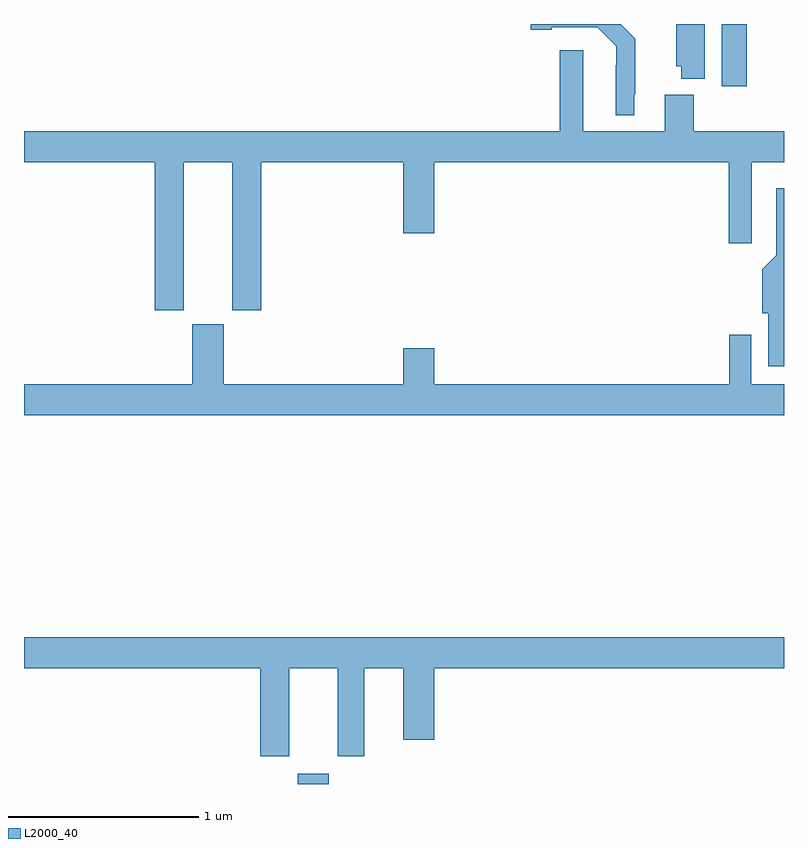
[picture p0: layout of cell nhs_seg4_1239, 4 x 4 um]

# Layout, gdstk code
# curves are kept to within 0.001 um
import gdstk
lib = gdstk.Library(unit=1e-6, precision=1e-09)
def R(c, l, rs):  # rectangles x0, y0, x1, y1
    for r in rs: c.add(gdstk.rectangle(r[:2], r[2:], *l))
def P(c, l, *ps):  # polygons
    for p in ps: c.add(gdstk.Polygon(p, *l))
L2000_40 = (2000, 40)

nhs_seg4_1239 = lib.new_cell('nhs_seg4_1239')
R(nhs_seg4_1239, L2000_40, [(176.441,774.9,176.605,774.955), (178.673,778.572,178.805,778.9)])
P(nhs_seg4_1239, L2000_40, [(178.213,778.531),(178.217,778.531),(178.217,778.822),(178.143,778.896),(178.143,778.9),(177.666,778.9),(177.666,778.871),(177.778,778.871),(177.778,778.883),(178.017,778.883),(178.116,778.784),(178.115,778.421),(178.213,778.421)],
  [(178.582,778.9),(178.433,778.9),(178.433,778.677),(178.46,778.677),(178.46,778.613),(178.582,778.613)],
  [(175.84,778.172),(176.096,778.172),(176.096,777.393),(176.249,777.393),(176.249,778.172),(176.996,778.172),(176.996,777.798),(177.16,777.798),(177.16,778.172),(178.709,778.172),(178.709,777.747),(178.831,777.747),(178.831,778.172),(179,778.172),(179,778.336),(178.526,778.336),(178.526,778.528),(178.373,778.528),(178.373,778.336),(177.943,778.336),(177.943,778.762),(177.821,778.762),(177.821,778.336),(175,778.336),(175,778.172),(175.688,778.172),(175.688,777.393),(175.84,777.393)],
  [(179,778.036),(178.958,778.036),(178.958,777.682),(178.886,777.61),(178.886,777.378),(178.916,777.378),(178.916,777.098),(179,777.098)],
  [(179,777.004),(178.827,777.004),(178.827,777.265),(178.711,777.265),(178.711,777.004),(177.16,777.004),(177.16,777.193),(176.996,777.193),(176.996,777.004),(176.05,777.004),(176.05,777.321),(175.886,777.321),(175.886,777.004),(175,777.004),(175,776.84),(179,776.84)],
  [(176.395,775.508),(176.651,775.508),(176.651,775.047),(176.791,775.047),(176.791,775.508),(176.996,775.508),(176.996,775.134),(177.16,775.134),(177.16,775.508),(179,775.508),(179,775.672),(175,775.672),(175,775.508),(176.243,775.508),(176.243,775.047),(176.395,775.047)])

lib.write_gds('nhs_seg4_1239.gds')
